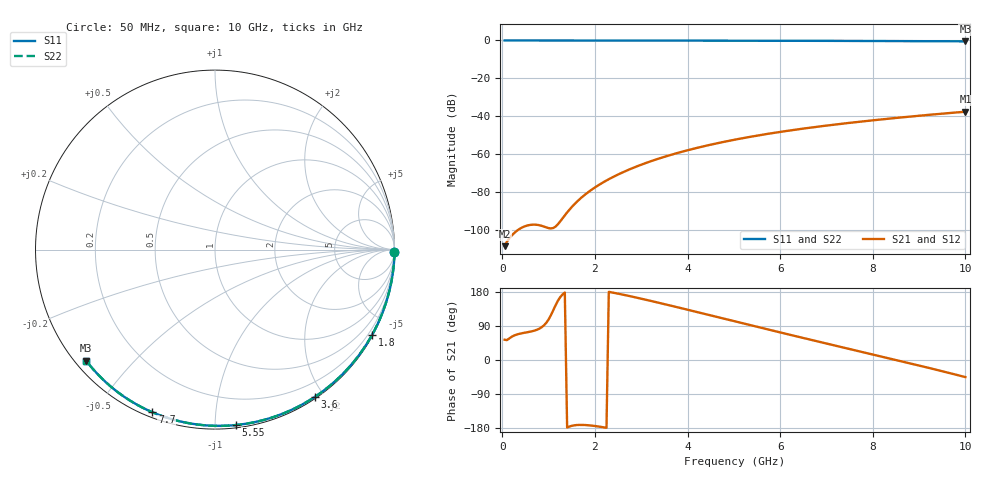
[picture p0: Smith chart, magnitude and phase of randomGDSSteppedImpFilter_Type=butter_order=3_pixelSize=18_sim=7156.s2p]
! freq	dB(S11)	phase(S11)	dB(S12)	phase(S12)
!  dB(S21)	phase(S21)	dB(S22)	phase(S22)
!S-par simulation data
#  GHz  S  DB  R 50
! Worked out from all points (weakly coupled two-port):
!   200 points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, 50 MHz to 10 GHz, reference 50 ohm
!   highest |S21| = -37.54 dB at 10 GHz (marker M1); lowest = -108.3 dB at 50 MHz (marker M2)
!   lowest |S11| = -0.5 dB at 10 GHz (marker M3), VSWR 37.22, Z = 1.53 - j18.5 ohm
!   |S11| at or under -10 dB: nowhere
!   |S22| runs from -0.5 to 0.0 dB; largest |S21 - S12| = 0
!   S11 on the Smith chart (normalised r, x): 50 MHz: open; 1.8 GHz: 0.03, -3.93; 3.6 GHz: 0.02, -1.89; 5.55 GHz: 0.02, -1.13; 7.7 GHz: 0.02, -0.69; 10 GHz: 0.03, -0.37
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0.05  -0.00 -0.8  -108.32 53.4  -108.32 53.4  -0.00 -0.8
0.85  -0.01 -13.6  -97.60 86.5  -97.60 86.5  -0.01 -13.6
1.3  -0.03 -20.7  -93.68 172.9  -93.68 172.9  -0.03 -20.7
1.75  -0.04 -27.8  -81.90 -171.4  -81.90 -171.4  -0.04 -27.8
1.8  -0.04 -28.5  -80.92 -171.7  -80.92 -171.7  -0.04 -28.5
1.85  -0.04 -29.3  -79.98 -172.1  -79.98 -172.1  -0.04 -29.3
2  -0.04 -31.6  -77.41 -174.1  -77.41 -174.1  -0.04 -31.6
2.15  -0.04 -34.0  -75.11 -176.9  -75.11 -176.9  -0.04 -34.0
2.35  -0.05 -37.0  -72.40 178.7  -72.40 178.7  -0.05 -37.0
2.55  -0.05 -40.1  -70.00 173.8  -70.00 173.8  -0.05 -40.1
2.95  -0.06 -46.1  -65.88 163.2  -65.88 163.2  -0.06 -46.1
3.4  -0.07 -52.8  -62.04 150.4  -62.04 150.4  -0.07 -52.8
3.6  -0.07 -55.8  -60.53 144.6  -60.53 144.6  -0.07 -55.8
4.3  -0.09 -65.9  -56.00 123.8  -56.00 123.8  -0.09 -65.9
5.05  -0.12 -76.4  -52.11 101.2  -52.11 101.2  -0.12 -76.4
5.55  -0.14 -83.2  -49.91 86.2  -49.91 86.2  -0.14 -83.2
6.1  -0.16 -90.5  -47.79 69.8  -47.79 69.8  -0.16 -90.5
6.7  -0.19 -98.4  -45.76 52.2  -45.76 52.2  -0.19 -98.4
7.7  -0.25 -111.1  -42.84 23.2  -42.84 23.2  -0.25 -111.1
8.35  -0.31 -119.1  -41.17 4.5  -41.17 4.5  -0.31 -119.1
9.2  -0.38 -129.6  -39.19 -20.5  -39.19 -20.5  -0.38 -129.6
10  -0.47 -139.3  -37.54 -45.2  -37.54 -45.2  -0.47 -139.3
